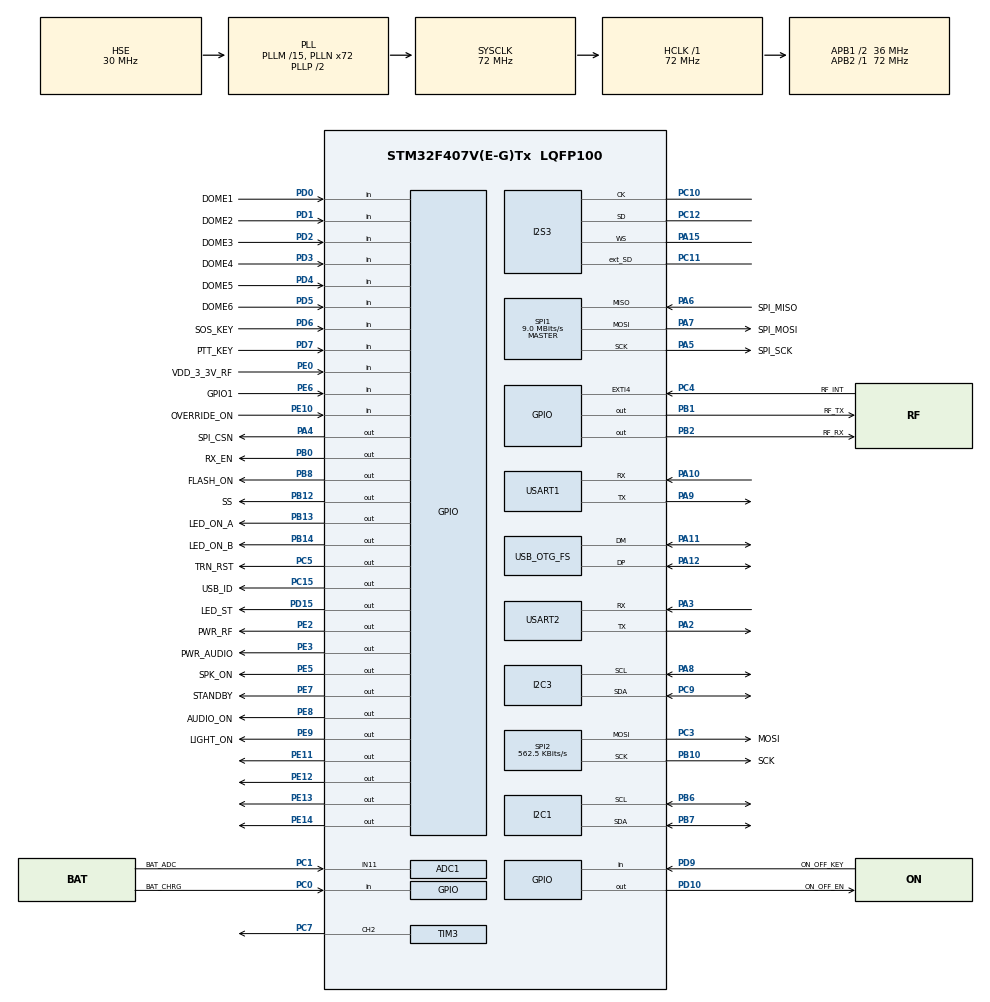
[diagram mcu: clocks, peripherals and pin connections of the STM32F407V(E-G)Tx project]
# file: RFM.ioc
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ADC1.Channel-1\#ChannelRegularConversion=ADC_CHANNEL_11
ADC1.NbrOfConversionFlag=1
ADC1.Rank-1\#ChannelRegularConversion=1
ADC1.SamplingTime-1\#ChannelRegularConversion=ADC_SAMPLETIME_3CYCLES
ADC1.master=1
Dma.I2S3_EXT_RX.0.Direction=DMA_PERIPH_TO_MEMORY
Dma.I2S3_EXT_RX.0.FIFOMode=DMA_FIFOMODE_ENABLE
Dma.I2S3_EXT_RX.0.FIFOThreshold=DMA_FIFO_THRESHOLD_FULL
Dma.I2S3_EXT_RX.0.Instance=DMA1_Stream0
Dma.I2S3_EXT_RX.0.MemBurst=DMA_MBURST_SINGLE
Dma.I2S3_EXT_RX.0.MemDataAlignment=DMA_MDATAALIGN_HALFWORD
Dma.I2S3_EXT_RX.0.MemInc=DMA_MINC_ENABLE
Dma.I2S3_EXT_RX.0.Mode=DMA_NORMAL
Dma.I2S3_EXT_RX.0.PeriphBurst=DMA_PBURST_SINGLE
Dma.I2S3_EXT_RX.0.PeriphDataAlignment=DMA_PDATAALIGN_HALFWORD
Dma.I2S3_EXT_RX.0.PeriphInc=DMA_PINC_DISABLE
Dma.I2S3_EXT_RX.0.Priority=DMA_PRIORITY_VERY_HIGH
Dma.Request0=I2S3_EXT_RX
Dma.Request1=SPI3_TX
Dma.Request2=SPI1_TX
Dma.Request3=SPI1_RX
Dma.SPI1_RX.3.Direction=DMA_PERIPH_TO_MEMORY
Dma.SPI1_RX.3.FIFOMode=DMA_FIFOMODE_ENABLE
Dma.SPI1_RX.3.FIFOThreshold=DMA_FIFO_THRESHOLD_FULL
Dma.SPI1_RX.3.Instance=DMA2_Stream0
Dma.SPI1_RX.3.MemBurst=DMA_MBURST_SINGLE
Dma.SPI1_RX.3.MemDataAlignment=DMA_MDATAALIGN_BYTE
Dma.SPI1_RX.3.MemInc=DMA_MINC_ENABLE
Dma.SPI1_RX.3.Mode=DMA_NORMAL
Dma.SPI1_RX.3.PeriphBurst=DMA_PBURST_SINGLE
Dma.SPI1_RX.3.PeriphDataAlignment=DMA_PDATAALIGN_BYTE
Dma.SPI1_RX.3.PeriphInc=DMA_PINC_DISABLE
Dma.SPI1_RX.3.Priority=DMA_PRIORITY_VERY_HIGH
Dma.SPI1_TX.2.Direction=DMA_MEMORY_TO_PERIPH
Dma.SPI1_TX.2.FIFOMode=DMA_FIFOMODE_ENABLE
Dma.SPI1_TX.2.FIFOThreshold=DMA_FIFO_THRESHOLD_FULL
Dma.SPI1_TX.2.Instance=DMA2_Stream3
Dma.SPI1_TX.2.MemBurst=DMA_MBURST_SINGLE
Dma.SPI1_TX.2.MemDataAlignment=DMA_MDATAALIGN_BYTE
Dma.SPI1_TX.2.MemInc=DMA_MINC_ENABLE
Dma.SPI1_TX.2.Mode=DMA_NORMAL
Dma.SPI1_TX.2.PeriphBurst=DMA_PBURST_SINGLE
Dma.SPI1_TX.2.PeriphDataAlignment=DMA_PDATAALIGN_BYTE
Dma.SPI1_TX.2.PeriphInc=DMA_PINC_DISABLE
Dma.SPI1_TX.2.Priority=DMA_PRIORITY_VERY_HIGH
Dma.SPI3_TX.1.Direction=DMA_MEMORY_TO_PERIPH
Dma.SPI3_TX.1.FIFOMode=DMA_FIFOMODE_ENABLE
Dma.SPI3_TX.1.FIFOThreshold=DMA_FIFO_THRESHOLD_FULL
Dma.SPI3_TX.1.Instance=DMA1_Stream5
Dma.SPI3_TX.1.MemBurst=DMA_MBURST_SINGLE
Dma.SPI3_TX.1.MemDataAlignment=DMA_MDATAALIGN_HALFWORD
Dma.SPI3_TX.1.MemInc=DMA_MINC_ENABLE
Dma.SPI3_TX.1.Mode=DMA_NORMAL
Dma.SPI3_TX.1.PeriphBurst=DMA_PBURST_SINGLE
Dma.SPI3_TX.1.PeriphDataAlignment=DMA_PDATAALIGN_HALFWORD
Dma.SPI3_TX.1.PeriphInc=DMA_PINC_DISABLE
Dma.SPI3_TX.1.Priority=DMA_PRIORITY_VERY_HIGH
I2C1.I2C_Mode=I2C_Standard
I2C3.I2C_Mode=I2C_Fast
I2S3.AudioFreq=I2S_AUDIOFREQ_8K
I2S3.CPOL=I2S_CPOL_LOW
I2S3.DataFormat=I2S_DATAFORMAT_16B_EXTENDED
I2S3.ErrorAudioFreq=0.0 %
I2S3.FullDuplexMode=I2S_FULLDUPLEXMODE_ENABLE
I2S3.Instance=SPI$Index
I2S3.Mode=I2S_MODE_MASTER_TX
I2S3.RealAudioFreq=8.0 KHz
I2S3.Standard=I2S_STANDARD_PCM_SHORT
I2S3.VirtualMode=I2S_MODE_MASTER
IWDG.Prescaler=IWDG_PRESCALER_128
IWDG.Reload=4000
Mcu.Family=STM32F4
Mcu.Name=STM32F407V(E-G)Tx
Mcu.Package=LQFP100
NVIC.DMA1_Stream0_IRQn=true\:0\:0\:false\:false\:true\:false\:true
NVIC.DMA1_Stream5_IRQn=true\:0\:0\:false\:false\:true\:false\:true
NVIC.DMA2_Stream0_IRQn=true\:0\:0\:false\:false\:true\:false\:true
NVIC.DMA2_Stream3_IRQn=true\:0\:0\:false\:false\:true\:false\:true
NVIC.EXTI4_IRQn=true\:0\:0\:false\:false\:true\:true\:true
NVIC.OTG_FS_IRQn=true\:0\:0\:false\:false\:true\:false\:true
NVIC.PriorityGroup=NVIC_PRIORITYGROUP_4
NVIC.TIM1_UP_TIM10_IRQn=true\:0\:0\:false\:false\:true\:false\:true
NVIC.TimeBase=TIM1_UP_TIM10_IRQn
NVIC.TimeBaseIP=TIM1
NVIC.USART1_IRQn=true\:0\:0\:false\:false\:true\:true\:true
NVIC.USART2_IRQn=true\:0\:0\:false\:false\:true\:true\:true
PA10.Mode=Asynchronous
PA10.Signal=USART1_RX
PA11.Mode=Device_Only
PA11.Signal=USB_OTG_FS_DM
PA12.Mode=Device_Only
PA12.Signal=USB_OTG_FS_DP
PA13.Mode=Serial_Wire
PA13.Signal=SYS_JTMS-SWDIO
PA14.Mode=Serial_Wire
PA14.Signal=SYS_JTCK-SWCLK
PA15.GPIO_Speed=GPIO_SPEED_FREQ_HIGH
PA15.Mode=Full_Duplex_Master
PA15.Signal=I2S3_WS
PA2.Mode=Asynchronous
PA2.Signal=USART2_TX
PA3.Mode=Asynchronous
PA3.Signal=USART2_RX
PA4.GPIO_Label=SPI_CSN
PA4.GPIO_Speed=GPIO_SPEED_FREQ_HIGH
PA4.PinState=GPIO_PIN_SET
PA4.Signal=GPIO_Output
PA5.GPIO_Label=SPI_SCK
PA5.GPIO_PuPd=GPIO_NOPULL
PA5.Mode=Full_Duplex_Master
PA5.Signal=SPI1_SCK
PA6.GPIO_Label=SPI_MISO
PA6.GPIO_PuPd=GPIO_NOPULL
PA6.Mode=Full_Duplex_Master
PA6.Signal=SPI1_MISO
PA7.GPIO_Label=SPI_MOSI
PA7.GPIO_PuPd=GPIO_NOPULL
PA7.Mode=Full_Duplex_Master
PA7.Signal=SPI1_MOSI
PA8.Mode=I2C
PA8.Signal=I2C3_SCL
PA9.Mode=Asynchronous
PA9.Signal=USART1_TX
PB0.GPIO_Label=RX_EN
PB0.Signal=GPIO_Output
PB1.GPIO_Label=RF_TX
PB1.Signal=GPIO_Output
PB10.GPIO_Label=SCK
PB10.Mode=TX_Only_Simplex_Unidirect_Master
PB10.Signal=SPI2_SCK
PB12.GPIO_Label=SS
PB12.GPIO_PuPd=GPIO_PULLUP
PB12.GPIO_Speed=GPIO_SPEED_FREQ_HIGH
PB12.PinState=GPIO_PIN_SET
PB12.Signal=GPIO_Output
PB13.GPIO_Label=LED_ON_A
PB13.Signal=GPIO_Output
PB14.GPIO_Label=LED_ON_B
PB14.Signal=GPIO_Output
PB2.GPIO_Label=RF_RX
PB2.Signal=GPIO_Output
PB6.Mode=I2C
PB6.Signal=I2C1_SCL
PB7.Mode=I2C
PB7.Signal=I2C1_SDA
PB8.GPIO_Label=FLASH_ON
PB8.Signal=GPIO_Output
PC0.GPIO_Label=BAT_CHRG
PC0.Signal=GPIO_Input
PC1.GPIO_Label=BAT_ADC
PC1.Signal=ADCx_IN11
PC10.GPIO_Speed=GPIO_SPEED_FREQ_HIGH
PC10.Mode=Full_Duplex_Master
PC10.Signal=I2S3_CK
PC11.GPIO_Speed=GPIO_SPEED_FREQ_HIGH
PC11.Mode=Full_Duplex_Master
PC11.Signal=I2S3_ext_SD
PC12.GPIO_Speed=GPIO_SPEED_FREQ_HIGH
PC12.Mode=Full_Duplex_Master
PC12.Signal=I2S3_SD
PC15-OSC32_OUT.GPIO_Label=USB_ID
PC15-OSC32_OUT.Signal=GPIO_Output
PC3.GPIO_Label=MOSI
PC3.Mode=TX_Only_Simplex_Unidirect_Master
PC3.Signal=SPI2_MOSI
PC4.GPIO_Label=RF_INT
PC4.GPIO_ModeDefaultEXTI=GPIO_MODE_IT_RISING_FALLING
PC4.Signal=GPXTI4
PC5.GPIO_Label=TRN_RST
PC5.Signal=GPIO_Output
PC7.Signal=S_TIM3_CH2
PC9.Mode=I2C
PC9.Signal=I2C3_SDA
PD0.GPIO_Label=DOME1
PD0.Signal=GPIO_Input
PD1.GPIO_Label=DOME2
PD1.Signal=GPIO_Input
PD10.GPIO_Label=ON_OFF_EN
PD10.PinState=GPIO_PIN_SET
PD10.Signal=GPIO_Output
PD15.GPIO_Label=LED_ST
PD15.Signal=GPIO_Output
PD2.GPIO_Label=DOME3
PD2.Signal=GPIO_Input
PD3.GPIO_Label=DOME4
PD3.Signal=GPIO_Input
PD4.GPIO_Label=DOME5
PD4.Signal=GPIO_Input
PD5.GPIO_Label=DOME6
PD5.Signal=GPIO_Input
PD6.GPIO_Label=SOS_KEY
PD6.Signal=GPIO_Input
PD7.GPIO_Label=PTT_KEY
PD7.Signal=GPIO_Input
PD9.GPIO_Label=ON_OFF_KEY
PD9.Signal=GPIO_Input
PE0.GPIO_Label=VDD_3_3V_RF
PE0.Signal=GPIO_Input
PE10.GPIO_Label=OVERRIDE_ON
PE10.Signal=GPIO_Input
PE11.Signal=GPIO_Output
PE12.Signal=GPIO_Output
PE13.Signal=GPIO_Output
PE14.Signal=GPIO_Output
PE2.GPIO_Label=PWR_RF
PE2.PinState=GPIO_PIN_SET
PE2.Signal=GPIO_Output
PE3.GPIO_Label=PWR_AUDIO
PE3.PinState=GPIO_PIN_SET
PE3.Signal=GPIO_Output
PE5.GPIO_Label=SPK_ON
PE5.PinState=GPIO_PIN_RESET
PE5.Signal=GPIO_Output
PE6.GPIO_Label=GPIO1
PE6.Signal=GPIO_Input
PE7.GPIO_Label=STANDBY
PE7.Signal=GPIO_Output
PE8.GPIO_Label=AUDIO_ON
PE8.Signal=GPIO_Output
PE9.GPIO_Label=LIGHT_ON
PE9.Signal=GPIO_Output
PH0-OSC_IN.Mode=HSE-External-Clock-Source
PH0-OSC_IN.Signal=RCC_OSC_IN
PH1-OSC_OUT.Mode=HSE-External-Clock-Source
PH1-OSC_OUT.Signal=RCC_OSC_OUT
ProjectManager.HeapSize=0x200
ProjectManager.StackSize=0x400
ProjectManager.TargetToolchain=STM32CubeIDE
RCC.48MHZClocksFreq_Value=48000000
RCC.AHBFreq_Value=72000000
RCC.APB1CLKDivider=RCC_HCLK_DIV2
RCC.APB1Freq_Value=36000000
RCC.APB1TimFreq_Value=72000000
RCC.APB2Freq_Value=72000000
RCC.APB2TimFreq_Value=72000000
RCC.CortexFreq_Value=72000000
RCC.HCLKFreq_Value=72000000
RCC.HSE_VALUE=30000000
RCC.HSI_VALUE=16000000
RCC.LSE_VALUE=32768
RCC.PLLI2SN=128
RCC.PLLI2SR=5
RCC.PLLM=15
RCC.PLLN=72
RCC.PLLQ=3
RCC.SYSCLKFreq_VALUE=72000000
RCC.SYSCLKSource=RCC_SYSCLKSOURCE_PLLCLK
RCC.VCOOutputFreq_Value=144000000
SH.ADCx_IN11.0=ADC1_IN11,IN11
SH.S_TIM3_CH2.0=TIM3_CH2,PWM Generation2 CH2
SPI1.BaudRatePrescaler=SPI_BAUDRATEPRESCALER_8
SPI1.CalculateBaudRate=9.0 MBits/s
SPI1.Direction=SPI_DIRECTION_2LINES
SPI1.Mode=SPI_MODE_MASTER
SPI1.VirtualType=VM_MASTER
SPI2.BaudRatePrescaler=SPI_BAUDRATEPRESCALER_64
SPI2.CLKPhase=SPI_PHASE_2EDGE
SPI2.CLKPolarity=SPI_POLARITY_HIGH
SPI2.CalculateBaudRate=562.5 KBits/s
SPI2.DataSize=SPI_DATASIZE_16BIT
SPI2.Direction=SPI_DIRECTION_2LINES
SPI2.Mode=SPI_MODE_MASTER
SPI2.VirtualType=VM_MASTER
TIM3.Channel-PWM\ Generation2\ CH2=TIM_CHANNEL_2
TIM3.Period=2-1
TIM3.Prescaler=3-1
TIM3.Pulse-PWM\ Generation2\ CH2=1
USART1.VirtualMode=VM_ASYNC
USART2.VirtualMode=VM_ASYNC
USB_DEVICE.CLASS_NAME_FS=CDC
USB_DEVICE.VirtualMode-CDC_FS=Cdc
USB_DEVICE.VirtualModeFS=Cdc_FS
USB_OTG_FS.VirtualMode=Device_Only
VP_IWDG_VS_IWDG.Mode=IWDG_Activate
VP_SYS_VS_tim1.Mode=TIM1
VP_USB_DEVICE_VS_USB_DEVICE_CDC_FS.Mode=CDC_FS
board=custom

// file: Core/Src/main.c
/* USER CODE BEGIN Header */
/**
  ******************************************************************************
  * @file           : main.c
  * @brief          : Main program body
  ******************************************************************************
  * @attention
  *
  * <h2><center>&copy; Copyright (c) 2020 STMicroelectronics.
  * All rights reserved.</center></h2>
  *
  * This software component is licensed by ST under BSD 3-Clause license,
  * the "License"; You may not use this file except in compliance with the
  * License. You may obtain a copy of the License at:
  *                        opensource.org/licenses/BSD-3-Clause
  *
  ******************************************************************************
  */

#include <stdio.h>
#include <stdint.h>         //  uint16_t

/* USER CODE END Header */
#include "main.h"
//#include "usb_device.h"

/* USER CODE BEGIN Includes */

#include "typedef.h"	//	TRUE, FALSE, ...

/* USER CODE END Includes */

ADC_HandleTypeDef hadc1;

I2C_HandleTypeDef hi2c1;
I2C_HandleTypeDef hi2c3;

I2S_HandleTypeDef hi2s3;
DMA_HandleTypeDef hdma_i2s3_ext_rx;
DMA_HandleTypeDef hdma_spi3_tx;

IWDG_HandleTypeDef hiwdg;

SPI_HandleTypeDef hspi1;
SPI_HandleTypeDef hspi2;
DMA_HandleTypeDef hdma_spi1_tx;
DMA_HandleTypeDef hdma_spi1_rx;

TIM_HandleTypeDef htim3;

UART_HandleTypeDef huart1;
UART_HandleTypeDef huart2;

void SystemClock_Config(void);
static void MX_GPIO_Init(void);
static void MX_DMA_Init(void);
static void MX_I2C1_Init(void);
static void MX_SPI1_Init(void);
static void MX_SPI2_Init(void);
static void MX_USART1_UART_Init(void);
static void MX_USART2_UART_Init(void);
static void MX_I2S3_Init(void);
static void MX_TIM3_Init(void);
static void MX_ADC1_Init(void);
static void MX_I2C3_Init(void);
static void MX_IWDG_Init(void);

/* USER CODE BEGIN 0 */

#if	defined(USE_BOOTLOADER)

#include "bootloader.h"

#else	//	defined(USE_BOOTLOADER)

#include "Adafruit_SSD1306.h"   //  I2C LCD

#include "radio_hal.h"			//	RF_NIRQ
#include "si446x_api_lib.h"		//	si446x_part_info()

#include "keypad.h"				//	RFM Keypad

#include "audio.h"				//	MAX9860

#include "rfm.h"				//	SetDevID()

//si4463 Interrupt

uint8_t RF_NIRQ;

//========================================================================
void HAL_GPIO_EXTI_Callback ( uint16_t GPIO_Pin )
//========================================================================
{
    uint8_t st;

//    printf( " HAL_GPIO_EXTI_Callback\n" );

    st = HAL_GPIO_ReadPin ( RF_INT_GPIO_Port, RF_INT_Pin );
    if ( st )	//	rising edge
    {
        RF_NIRQ = TRUE;
    }
    else		//	falling edge
    {
        RF_NIRQ = FALSE;
    }
}

int g_bEnIWDGStat = 1;		//	WatchDog Stat Enable
//========================================================================
void LoopProcMain( int nTick )
//========================================================================
{
	if ( g_bEnIWDGStat )
	{
		//	Watchdog Reload
		__HAL_IWDG_RELOAD_COUNTER(&hiwdg);
	}

//	static int s_nTick = 0;
//
//	if ( ( nTick - s_nTick ) >= 1000 )
//	{
//		char *sTest = "USB 가나다라\n\r";
//		CDC_Transmit_FS(sTest, strlen(sTest) + 1);
//		s_nTick = nTick;
//	}
}

#endif

//========================================================================
void MX_IWDG_Disable( void )
//========================================================================
{
	//	iWdg : iWatchdog의 경우 처음 시작 이후에 Stop 불가.
	//			-> Reset이후에만 종료됨.
//	IWDG_DISABLE_WRITE_ACCESS( &hiwdg );
}

/* USER CODE END 0 */

int main(void)
{

  /* MCU Configuration--------------------------------------------------------*/

  /* Reset of all peripherals, Initializes the Flash interface and the Systick. */
  HAL_Init();

  /* Configure the system clock */
  SystemClock_Config();

  /* USER CODE BEGIN SysInit */

#if	defined(USE_BOOTLOADER)

  MX_GPIO_Init();
  MX_DMA_Init();
  MX_I2C1_Init();
  MX_SPI1_Init();
  MX_SPI2_Init();
  MX_USART1_UART_Init();
  MX_USART2_UART_Init();
  MX_I2S3_Init();
  MX_TIM3_Init();
//  MX_ADC1_Init();
  MX_I2C3_Init();
//  MX_IWDG_Init();
//DEL  MX_USB_DEVICE_Init();

#else	//	Application

  /* USER CODE END SysInit */

  /* Initialize all configured peripherals */
  MX_GPIO_Init();
  MX_DMA_Init();
  MX_I2C1_Init();
  MX_SPI1_Init();
  MX_SPI2_Init();
  MX_USART1_UART_Init();
  MX_USART2_UART_Init();
  MX_I2S3_Init();
  MX_TIM3_Init();
  MX_ADC1_Init();
  MX_I2C3_Init();
  MX_IWDG_Init();
  MX_USB_DEVICE_Init();
  /* USER CODE BEGIN 2 */

#endif	//	Application

	//========================================================================
	//    Start PWM

	//    I2S MCLK - 12 MHz
  	//		72000000 / 3 / 2 = 12000000 ( 12MHz ) - MCLK ( MAX9860+ )
	HAL_TIM_PWM_Start( &htim3, TIM_CHANNEL_2 );       //      12 MHz
	HAL_TIMEx_PWMN_Start( &htim3, TIM_CHANNEL_2 );

	//========================================================================
	//    Initial

	//	Serial
	SerialInit( &huart1, &huart2 );   //  Init Serial Handle
	//SerialInit( NULL, &huart2 );   //  Init Serial Handle
	setbuf ( stdout, NULL );		            //	1024 byte buffer clear
	//  setvbuf ( stdout, NULL, _IOLBF, NULL );	//	Line Buffer
	setvbuf ( stdout, NULL, _IONBF, NULL );	//	No Buffer

	printf( "%s(%d) - Start\n", __func__, __LINE__ );

#if	defined(USE_BOOTLOADER)

	BootLoaderTask();

#else	//	RFM

	//========================================================================
	//    RFM Main Routine

	RFM_main();

	//========================================================================

  /* USER CODE END 2 */

  /* Infinite loop */
  /* USER CODE BEGIN WHILE */

  int nCurrTick;
  static int nLedTick = 0;

  while (1)
  {
    /* USER CODE END WHILE */

    /* USER CODE BEGIN 3 */

	nCurrTick = HAL_GetTick();

	LoopProcKey( nCurrTick );

	if ( ( nCurrTick - nLedTick ) >= 1000 )
	{
	    HAL_GPIO_TogglePin( LED_ST_GPIO_Port, LED_ST_Pin );

	    printf( "%s(%d) - Loop(%d)\n", __func__, __LINE__, nCurrTick );

	    nLedTick = nCurrTick;
	}
  }

#endif

  /* USER CODE END 3 */
}

void SystemClock_Config(void)
{
  RCC_OscInitTypeDef RCC_OscInitStruct = {0};
  RCC_ClkInitTypeDef RCC_ClkInitStruct = {0};
  RCC_PeriphCLKInitTypeDef PeriphClkInitStruct = {0};

  /** Configure the main internal regulator output voltage
  */
  __HAL_RCC_PWR_CLK_ENABLE();
  __HAL_PWR_VOLTAGESCALING_CONFIG(PWR_REGULATOR_VOLTAGE_SCALE1);
  /** Initializes the RCC Oscillators according to the specified parameters
  * in the RCC_OscInitTypeDef structure.
  */
  RCC_OscInitStruct.OscillatorType = RCC_OSCILLATORTYPE_LSI|RCC_OSCILLATORTYPE_HSE;
  RCC_OscInitStruct.HSEState = RCC_HSE_BYPASS;
  RCC_OscInitStruct.LSIState = RCC_LSI_ON;
  RCC_OscInitStruct.PLL.PLLState = RCC_PLL_ON;
  RCC_OscInitStruct.PLL.PLLSource = RCC_PLLSOURCE_HSE;
  RCC_OscInitStruct.PLL.PLLM = 15;
  RCC_OscInitStruct.PLL.PLLN = 72;
  RCC_OscInitStruct.PLL.PLLP = RCC_PLLP_DIV2;
  RCC_OscInitStruct.PLL.PLLQ = 3;
  if (HAL_RCC_OscConfig(&RCC_OscInitStruct) != HAL_OK)
  {
    Error_Handler();
  }
  /** Initializes the CPU, AHB and APB buses clocks
  */
  RCC_ClkInitStruct.ClockType = RCC_CLOCKTYPE_HCLK|RCC_CLOCKTYPE_SYSCLK
                              |RCC_CLOCKTYPE_PCLK1|RCC_CLOCKTYPE_PCLK2;
  RCC_ClkInitStruct.SYSCLKSource = RCC_SYSCLKSOURCE_PLLCLK;
  RCC_ClkInitStruct.AHBCLKDivider = RCC_SYSCLK_DIV1;
  RCC_ClkInitStruct.APB1CLKDivider = RCC_HCLK_DIV2;
  RCC_ClkInitStruct.APB2CLKDivider = RCC_HCLK_DIV1;

  if (HAL_RCC_ClockConfig(&RCC_ClkInitStruct, FLASH_LATENCY_2) != HAL_OK)
  {
    Error_Handler();
  }
  PeriphClkInitStruct.PeriphClockSelection = RCC_PERIPHCLK_I2S;
  PeriphClkInitStruct.PLLI2S.PLLI2SN = 128;
  PeriphClkInitStruct.PLLI2S.PLLI2SR = 5;
  if (HAL_RCCEx_PeriphCLKConfig(&PeriphClkInitStruct) != HAL_OK)
  {
    Error_Handler();
  }
}

static void MX_ADC1_Init(void)
{

  ADC_ChannelConfTypeDef sConfig = {0};

  /** Configure the global features of the ADC (Clock, Resolution, Data Alignment and number of conversion)
  */
  hadc1.Instance = ADC1;
  hadc1.Init.ClockPrescaler = ADC_CLOCK_SYNC_PCLK_DIV2;
  hadc1.Init.Resolution = ADC_RESOLUTION_12B;
  hadc1.Init.ScanConvMode = DISABLE;
  hadc1.Init.ContinuousConvMode = DISABLE;
  hadc1.Init.DiscontinuousConvMode = DISABLE;
  hadc1.Init.ExternalTrigConvEdge = ADC_EXTERNALTRIGCONVEDGE_NONE;
  hadc1.Init.ExternalTrigConv = ADC_SOFTWARE_START;
  hadc1.Init.DataAlign = ADC_DATAALIGN_RIGHT;
  hadc1.Init.NbrOfConversion = 1;
  hadc1.Init.DMAContinuousRequests = DISABLE;
  hadc1.Init.EOCSelection = ADC_EOC_SINGLE_CONV;
  if (HAL_ADC_Init(&hadc1) != HAL_OK)
  {
    Error_Handler();
  }
  /** Configure for the selected ADC regular channel its corresponding rank in the sequencer and its sample time.
  */
  sConfig.Channel = ADC_CHANNEL_11;
  sConfig.Rank = 1;
  sConfig.SamplingTime = ADC_SAMPLETIME_3CYCLES;
  if (HAL_ADC_ConfigChannel(&hadc1, &sConfig) != HAL_OK)
  {
    Error_Handler();
  }

}

static void MX_I2C1_Init(void)
{

  hi2c1.Instance = I2C1;
  hi2c1.Init.ClockSpeed = 100000;
  hi2c1.Init.DutyCycle = I2C_DUTYCYCLE_2;
  hi2c1.Init.OwnAddress1 = 0;
  hi2c1.Init.AddressingMode = I2C_ADDRESSINGMODE_7BIT;
  hi2c1.Init.DualAddressMode = I2C_DUALADDRESS_DISABLE;
  hi2c1.Init.OwnAddress2 = 0;
  hi2c1.Init.GeneralCallMode = I2C_GENERALCALL_DISABLE;
  hi2c1.Init.NoStretchMode = I2C_NOSTRETCH_DISABLE;
  if (HAL_I2C_Init(&hi2c1) != HAL_OK)
  {
    Error_Handler();
  }

}

static void MX_I2C3_Init(void)
{

  hi2c3.Instance = I2C3;
  hi2c3.Init.ClockSpeed = 400000;
  hi2c3.Init.DutyCycle = I2C_DUTYCYCLE_2;
  hi2c3.Init.OwnAddress1 = 0;
  hi2c3.Init.AddressingMode = I2C_ADDRESSINGMODE_7BIT;
  hi2c3.Init.DualAddressMode = I2C_DUALADDRESS_DISABLE;
  hi2c3.Init.OwnAddress2 = 0;
  hi2c3.Init.GeneralCallMode = I2C_GENERALCALL_DISABLE;
  hi2c3.Init.NoStretchMode = I2C_NOSTRETCH_DISABLE;
  if (HAL_I2C_Init(&hi2c3) != HAL_OK)
  {
    Error_Handler();
  }

}

static void MX_I2S3_Init(void)
{

  hi2s3.Instance = SPI3;
  hi2s3.Init.Mode = I2S_MODE_MASTER_TX;
  hi2s3.Init.Standard = I2S_STANDARD_PCM_SHORT;
  hi2s3.Init.DataFormat = I2S_DATAFORMAT_16B_EXTENDED;
  hi2s3.Init.MCLKOutput = I2S_MCLKOUTPUT_DISABLE;
  hi2s3.Init.AudioFreq = I2S_AUDIOFREQ_8K;
  hi2s3.Init.CPOL = I2S_CPOL_LOW;
  hi2s3.Init.ClockSource = I2S_CLOCK_PLL;
  hi2s3.Init.FullDuplexMode = I2S_FULLDUPLEXMODE_ENABLE;
  if (HAL_I2S_Init(&hi2s3) != HAL_OK)
  {
    Error_Handler();
  }

}

static void MX_IWDG_Init(void)
{

  /* USER CODE BEGIN IWDG_Init 0 */

	//	32 KHz
	//	1 / 32000 X 32 X 4000 = 4 sec
	//	1 / 32000 X 64 X 4000 = 8 sec
	//	1 / 32000 X 128 X 4000 = 16 sec
	//	1 / 32000 X 256 X 4000 = 32 sec

  /* USER CODE END IWDG_Init 0 */

  hiwdg.Instance = IWDG;
  hiwdg.Init.Prescaler = IWDG_PRESCALER_128;
  hiwdg.Init.Reload = 4000;
  if (HAL_IWDG_Init(&hiwdg) != HAL_OK)
  {
    Error_Handler();
  }

}

static void MX_SPI1_Init(void)
{

  /* SPI1 parameter configuration*/
  hspi1.Instance = SPI1;
  hspi1.Init.Mode = SPI_MODE_MASTER;
  hspi1.Init.Direction = SPI_DIRECTION_2LINES;
  hspi1.Init.DataSize = SPI_DATASIZE_8BIT;
  hspi1.Init.CLKPolarity = SPI_POLARITY_LOW;
  hspi1.Init.CLKPhase = SPI_PHASE_1EDGE;
  hspi1.Init.NSS = SPI_NSS_SOFT;
  hspi1.Init.BaudRatePrescaler = SPI_BAUDRATEPRESCALER_8;
  hspi1.Init.FirstBit = SPI_FIRSTBIT_MSB;
  hspi1.Init.TIMode = SPI_TIMODE_DISABLE;
  hspi1.Init.CRCCalculation = SPI_CRCCALCULATION_DISABLE;
  hspi1.Init.CRCPolynomial = 10;
  if (HAL_SPI_Init(&hspi1) != HAL_OK)
  {
    Error_Handler();
  }

}

static void MX_SPI2_Init(void)
{

  /* SPI2 parameter configuration*/
  hspi2.Instance = SPI2;
  hspi2.Init.Mode = SPI_MODE_MASTER;
  hspi2.Init.Direction = SPI_DIRECTION_2LINES;
  hspi2.Init.DataSize = SPI_DATASIZE_16BIT;
  hspi2.Init.CLKPolarity = SPI_POLARITY_HIGH;
  hspi2.Init.CLKPhase = SPI_PHASE_2EDGE;
  hspi2.Init.NSS = SPI_NSS_SOFT;
  hspi2.Init.BaudRatePrescaler = SPI_BAUDRATEPRESCALER_64;
  hspi2.Init.FirstBit = SPI_FIRSTBIT_MSB;
  hspi2.Init.TIMode = SPI_TIMODE_DISABLE;
  hspi2.Init.CRCCalculation = SPI_CRCCALCULATION_DISABLE;
  hspi2.Init.CRCPolynomial = 10;
  if (HAL_SPI_Init(&hspi2) != HAL_OK)
  {
    Error_Handler();
  }

}

static void MX_TIM3_Init(void)
{

  /* USER CODE BEGIN TIM3_Init 0 */

    //  72000000 / 18 / 2 = 2000000 ( 2MHz )
    //  72000000 / 3 / 2 = 12000000 ( 12MHz ) - MCLK ( MAX9860+ )

  /* USER CODE END TIM3_Init 0 */

  TIM_MasterConfigTypeDef sMasterConfig = {0};
  TIM_OC_InitTypeDef sConfigOC = {0};

  htim3.Instance = TIM3;
  htim3.Init.Prescaler = 3-1;
  htim3.Init.CounterMode = TIM_COUNTERMODE_UP;
  htim3.Init.Period = 2-1;
  htim3.Init.ClockDivision = TIM_CLOCKDIVISION_DIV1;
  htim3.Init.AutoReloadPreload = TIM_AUTORELOAD_PRELOAD_DISABLE;
  if (HAL_TIM_PWM_Init(&htim3) != HAL_OK)
  {
    Error_Handler();
  }
  sMasterConfig.MasterOutputTrigger = TIM_TRGO_RESET;
  sMasterConfig.MasterSlaveMode = TIM_MASTERSLAVEMODE_DISABLE;
  if (HAL_TIMEx_MasterConfigSynchronization(&htim3, &sMasterConfig) != HAL_OK)
  {
    Error_Handler();
  }
  sConfigOC.OCMode = TIM_OCMODE_PWM1;
  sConfigOC.Pulse = 1;
  sConfigOC.OCPolarity = TIM_OCPOLARITY_HIGH;
  sConfigOC.OCFastMode = TIM_OCFAST_DISABLE;
  if (HAL_TIM_PWM_ConfigChannel(&htim3, &sConfigOC, TIM_CHANNEL_2) != HAL_OK)
  {
    Error_Handler();
  }
  HAL_TIM_MspPostInit(&htim3);

}

static void MX_USART1_UART_Init(void)
{

  huart1.Instance = USART1;
  huart1.Init.BaudRate = 115200;
  huart1.Init.WordLength = UART_WORDLENGTH_8B;
  huart1.Init.StopBits = UART_STOPBITS_1;
  huart1.Init.Parity = UART_PARITY_NONE;
  huart1.Init.Mode = UART_MODE_TX_RX;
  huart1.Init.HwFlowCtl = UART_HWCONTROL_NONE;
  huart1.Init.OverSampling = UART_OVERSAMPLING_16;
  if (HAL_UART_Init(&huart1) != HAL_OK)
  {
    Error_Handler();
  }

}

static void MX_USART2_UART_Init(void)
{

  huart2.Instance = USART2;
  huart2.Init.BaudRate = 115200;
  huart2.Init.WordLength = UART_WORDLENGTH_8B;
  huart2.Init.StopBits = UART_STOPBITS_1;
  huart2.Init.Parity = UART_PARITY_NONE;
  huart2.Init.Mode = UART_MODE_TX_RX;
  huart2.Init.HwFlowCtl = UART_HWCONTROL_NONE;
  huart2.Init.OverSampling = UART_OVERSAMPLING_16;
  if (HAL_UART_Init(&huart2) != HAL_OK)
  {
    Error_Handler();
  }

}

static void MX_DMA_Init(void)
{

  /* DMA controller clock enable */
  __HAL_RCC_DMA1_CLK_ENABLE();
  __HAL_RCC_DMA2_CLK_ENABLE();

  /* DMA interrupt init */
  /* DMA1_Stream0_IRQn interrupt configuration */
  HAL_NVIC_SetPriority(DMA1_Stream0_IRQn, 0, 0);
  HAL_NVIC_EnableIRQ(DMA1_Stream0_IRQn);
  /* DMA1_Stream5_IRQn interrupt configuration */
  HAL_NVIC_SetPriority(DMA1_Stream5_IRQn, 0, 0);
  HAL_NVIC_EnableIRQ(DMA1_Stream5_IRQn);
  /* DMA2_Stream0_IRQn interrupt configuration */
  HAL_NVIC_SetPriority(DMA2_Stream0_IRQn, 0, 0);
  HAL_NVIC_EnableIRQ(DMA2_Stream0_IRQn);
  /* DMA2_Stream3_IRQn interrupt configuration */
  HAL_NVIC_SetPriority(DMA2_Stream3_IRQn, 0, 0);
  HAL_NVIC_EnableIRQ(DMA2_Stream3_IRQn);

}

static void MX_GPIO_Init(void)
{
  GPIO_InitTypeDef GPIO_InitStruct = {0};

  /* GPIO Ports Clock Enable */
  __HAL_RCC_GPIOE_CLK_ENABLE();
  __HAL_RCC_GPIOC_CLK_ENABLE();
  __HAL_RCC_GPIOH_CLK_ENABLE();
  __HAL_RCC_GPIOA_CLK_ENABLE();
  __HAL_RCC_GPIOB_CLK_ENABLE();
  __HAL_RCC_GPIOD_CLK_ENABLE();

  /*Configure GPIO pin Output Level */
  HAL_GPIO_WritePin(GPIOE, PWR_RF_Pin|PWR_AUDIO_Pin, GPIO_PIN_SET);

  /*Configure GPIO pin Output Level */
  HAL_GPIO_WritePin(GPIOE, SPK_ON_Pin|STANDBY_Pin|AUDIO_ON_Pin|LIGHT_ON_Pin
                          |GPIO_PIN_11|GPIO_PIN_12|GPIO_PIN_13|GPIO_PIN_14, GPIO_PIN_RESET);

  /*Configure GPIO pin Output Level */
  HAL_GPIO_WritePin(GPIOC, USB_ID_Pin|TRN_RST_Pin, GPIO_PIN_RESET);

  /*Configure GPIO pin Output Level */
  HAL_GPIO_WritePin(SPI_CSN_GPIO_Port, SPI_CSN_Pin, GPIO_PIN_SET);

  /*Configure GPIO pin Output Level */
  HAL_GPIO_WritePin(GPIOB, RX_EN_Pin|RF_TX_Pin|RF_RX_Pin|LED_ON_A_Pin
                          |LED_ON_B_Pin|FLASH_ON_Pin, GPIO_PIN_RESET);

  /*Configure GPIO pin Output Level */
  HAL_GPIO_WritePin(SS_GPIO_Port, SS_Pin, GPIO_PIN_SET);

  /*Configure GPIO pin Output Level */
  HAL_GPIO_WritePin(ON_OFF_EN_GPIO_Port, ON_OFF_EN_Pin, GPIO_PIN_SET);

  /*Configure GPIO pin Output Level */
  HAL_GPIO_WritePin(LED_ST_GPIO_Port, LED_ST_Pin, GPIO_PIN_RESET);

  /*Configure GPIO pins : PWR_RF_Pin PWR_AUDIO_Pin SPK_ON_Pin STANDBY_Pin
                           AUDIO_ON_Pin LIGHT_ON_Pin PE11 PE12
                           PE13 PE14 */
  GPIO_InitStruct.Pin = PWR_RF_Pin|PWR_AUDIO_Pin|SPK_ON_Pin|STANDBY_Pin
                          |AUDIO_ON_Pin|LIGHT_ON_Pin|GPIO_PIN_11|GPIO_PIN_12
                          |GPIO_PIN_13|GPIO_PIN_14;
  GPIO_InitStruct.Mode = GPIO_MODE_OUTPUT_PP;
  GPIO_InitStruct.Pull = GPIO_NOPULL;
  GPIO_InitStruct.Speed = GPIO_SPEED_FREQ_LOW;
  HAL_GPIO_Init(GPIOE, &GPIO_InitStruct);

  /*Configure GPIO pins : GPIO1_Pin OVERRIDE_ON_Pin VDD_3_3V_RF_Pin */
  GPIO_InitStruct.Pin = GPIO1_Pin|OVERRIDE_ON_Pin|VDD_3_3V_RF_Pin;
  GPIO_InitStruct.Mode = GPIO_MODE_INPUT;
  GPIO_InitStruct.Pull = GPIO_NOPULL;
  HAL_GPIO_Init(GPIOE, &GPIO_InitStruct);

  /*Configure GPIO pins : USB_ID_Pin TRN_RST_Pin */
  GPIO_InitStruct.Pin = USB_ID_Pin|TRN_RST_Pin;
  GPIO_InitStruct.Mode = GPIO_MODE_OUTPUT_PP;
  GPIO_InitStruct.Pull = GPIO_NOPULL;
  GPIO_InitStruct.Speed = GPIO_SPEED_FREQ_LOW;
  HAL_GPIO_Init(GPIOC, &GPIO_InitStruct);

  /*Configure GPIO pin : BAT_CHRG_Pin */
  GPIO_InitStruct.Pin = BAT_CHRG_Pin;
  GPIO_InitStruct.Mode = GPIO_MODE_INPUT;
  GPIO_InitStruct.Pull = GPIO_NOPULL;
  HAL_GPIO_Init(BAT_CHRG_GPIO_Port, &GPIO_InitStruct);

  /*Configure GPIO pin : SPI_CSN_Pin */
  GPIO_InitStruct.Pin = SPI_CSN_Pin;
  GPIO_InitStruct.Mode = GPIO_MODE_OUTPUT_PP;
  GPIO_InitStruct.Pull = GPIO_NOPULL;
  GPIO_InitStruct.Speed = GPIO_SPEED_FREQ_HIGH;
  HAL_GPIO_Init(SPI_CSN_GPIO_Port, &GPIO_InitStruct);

  /*Configure GPIO pin : RF_INT_Pin */
  GPIO_InitStruct.Pin = RF_INT_Pin;
  GPIO_InitStruct.Mode = GPIO_MODE_IT_RISING_FALLING;
  GPIO_InitStruct.Pull = GPIO_NOPULL;
  HAL_GPIO_Init(RF_INT_GPIO_Port, &GPIO_InitStruct);

  /*Configure GPIO pins : RX_EN_Pin RF_TX_Pin RF_RX_Pin LED_ON_A_Pin
                           LED_ON_B_Pin FLASH_ON_Pin */
  GPIO_InitStruct.Pin = RX_EN_Pin|RF_TX_Pin|RF_RX_Pin|LED_ON_A_Pin
                          |LED_ON_B_Pin|FLASH_ON_Pin;
  GPIO_InitStruct.Mode = GPIO_MODE_OUTPUT_PP;
  GPIO_InitStruct.Pull = GPIO_NOPULL;
  GPIO_InitStruct.Speed = GPIO_SPEED_FREQ_LOW;
  HAL_GPIO_Init(GPIOB, &GPIO_InitStruct);

  /*Configure GPIO pin : SS_Pin */
  GPIO_InitStruct.Pin = SS_Pin;
  GPIO_InitStruct.Mode = GPIO_MODE_OUTPUT_PP;
  GPIO_InitStruct.Pull = GPIO_PULLUP;
  GPIO_InitStruct.Speed = GPIO_SPEED_FREQ_HIGH;
  HAL_GPIO_Init(SS_GPIO_Port, &GPIO_InitStruct);

  /*Configure GPIO pins : ON_OFF_KEY_Pin DOME1_Pin DOME2_Pin DOME3_Pin
                           DOME4_Pin DOME5_Pin DOME6_Pin SOS_KEY_Pin
                           PTT_KEY_Pin */
  GPIO_InitStruct.Pin = ON_OFF_KEY_Pin|DOME1_Pin|DOME2_Pin|DOME3_Pin
                          |DOME4_Pin|DOME5_Pin|DOME6_Pin|SOS_KEY_Pin
                          |PTT_KEY_Pin;
  GPIO_InitStruct.Mode = GPIO_MODE_INPUT;
  GPIO_InitStruct.Pull = GPIO_NOPULL;
  HAL_GPIO_Init(GPIOD, &GPIO_InitStruct);

  /*Configure GPIO pins : ON_OFF_EN_Pin LED_ST_Pin */
  GPIO_InitStruct.Pin = ON_OFF_EN_Pin|LED_ST_Pin;
  GPIO_InitStruct.Mode = GPIO_MODE_OUTPUT_PP;
  GPIO_InitStruct.Pull = GPIO_NOPULL;
  GPIO_InitStruct.Speed = GPIO_SPEED_FREQ_LOW;
  HAL_GPIO_Init(GPIOD, &GPIO_InitStruct);

  /* EXTI interrupt init*/
  HAL_NVIC_SetPriority(EXTI4_IRQn, 0, 0);
  HAL_NVIC_EnableIRQ(EXTI4_IRQn);

}

 /**
  * @brief  Period elapsed callback in non blocking mode
  * @note   This function is called  when TIM1 interrupt took place, inside
  * HAL_TIM_IRQHandler(). It makes a direct call to HAL_IncTick() to increment
  * a global variable "uwTick" used as application time base.
  * @param  htim : TIM handle
  * @retval None
  */
void HAL_TIM_PeriodElapsedCallback(TIM_HandleTypeDef *htim)
{
  if (htim->Instance == TIM1) {
    HAL_IncTick();
  }
}

void Error_Handler(void)
{
}

/************************ (C) COPYRIGHT STMicroelectronics *****END OF FILE****/
